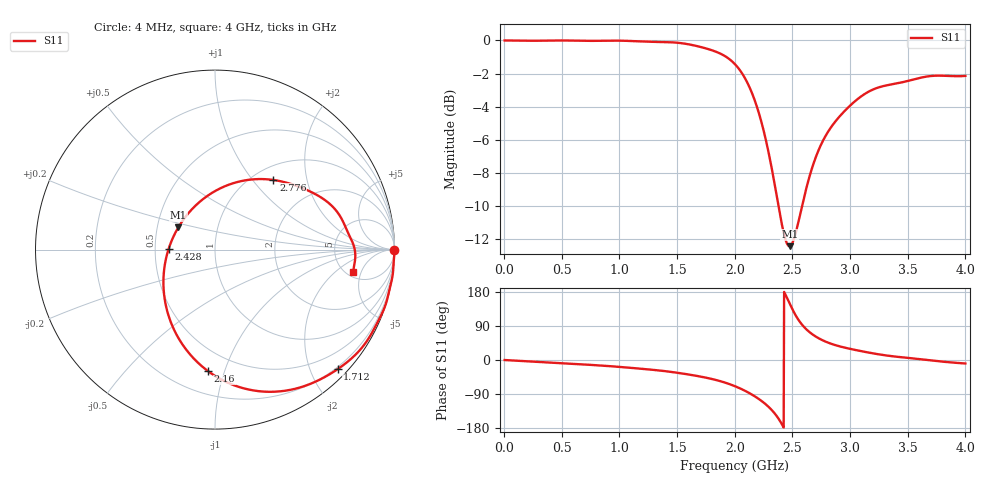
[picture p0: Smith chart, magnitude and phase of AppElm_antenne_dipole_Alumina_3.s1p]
! TOUCHSTONE file generated by CST MICROWAVE STUDIO
! Date and time: Sat May 14 10:20:40 2022
! Project name: AppElm_antenne_dipole_Alumina.cst
! Parameters = {L=33; e=0.035; f=2.45e+09; h=1.6; i=0.8; l1=1.7; lambda=122.449; ls=30; wl=1.7; ws=80}
! Header version: 2018
! Port assignment regex: !\s*Touchstone port\s*([0-9]+)\s*=\s*(CST MWS port|CST DS port)\s*([0-9]+|Zmin|Zmax)\s*\(\"(.*)\"\)(\s*mode\s*([0-9]+))?.*
! Touchstone port assignment:
! Touchstone port 1 = CST MWS port 1 ("")
# GHz S MA R 50
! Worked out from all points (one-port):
!   1000 points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, 4 MHz to 4 GHz, reference 50 ohm
!   lowest |S11| = -12.4 dB at 2.476 GHz (marker M1), VSWR 1.63, Z = 32.1 + j8.4 ohm
!   |S11| at or under -10 dB: 2.379 GHz to 2.584 GHz (204.8 MHz wide, 8.25 % of centre)
!   S11 on the Smith chart (normalised r, x): 4 MHz: open; 1.712 GHz: 0.16, -2.45; 2.16 GHz: 0.35, -0.88; 2.428 GHz: 0.59, +0.00; 2.776 GHz: 1.23, +1.28; 4 GHz: 5.71, -3.69
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0.004  1 -0.1
0.504  1 -8.3
1.004  0.9985 -18.3
1.32  0.9902 -26.9
1.504  0.9842 -33.8
1.712  0.9541 -44.3
1.868  0.9149 -55.3
1.936  0.8872 -61.7
2.004  0.8461 -69.4
2.084  0.774 -80.5
2.16  0.6783 -93.3
2.236  0.5586 -108.9
2.304  0.4397 -126.8
2.364  0.3386 -148.1
2.428  0.2589 179.5
2.476  0.239 149.0
2.504  0.2463 131.4
2.564  0.295 100.8
2.628  0.3659 78.9
2.696  0.4375 63.1
2.776  0.5063 50.0
2.876  0.5712 38.9
3.004  0.6374 29.1
3.12  0.6867 22.0
3.22  0.7158 16.4
3.504  0.755 5.5
3.712  0.7815 -1.4
4  0.7815 -9.3
